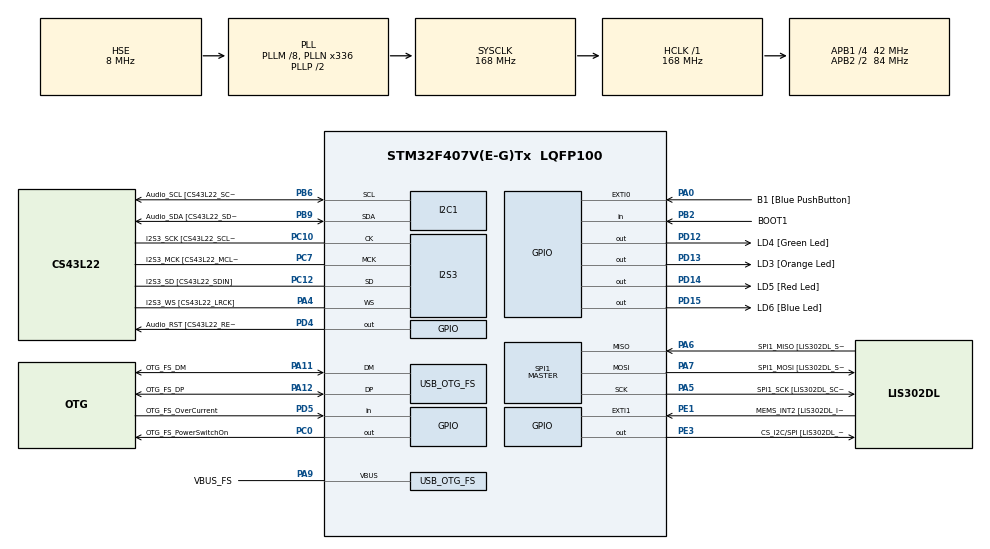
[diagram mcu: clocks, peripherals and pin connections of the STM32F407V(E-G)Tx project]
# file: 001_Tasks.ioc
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I2S3.AudioFreq-Half_Duplex_Master=I2S_AUDIOFREQ_96K
I2S3.ErrorAudioFreq=-2.34 %
I2S3.ErrorAudioFreq-Half_Duplex_Master=0.8 %
I2S3.FullDuplexMode=I2S_FULLDUPLEXMODE_DISABLE
I2S3.Instance=SPI$Index
I2S3.RealAudioFreq=93.75 KHz
I2S3.RealAudioFreq-Half_Duplex_Master=96.774 KHz
I2S3.VirtualMode=I2S_MODE_MASTER
Mcu.Family=STM32F4
Mcu.Name=STM32F407V(E-G)Tx
Mcu.Package=LQFP100
NVIC.OTG_FS_IRQn=true\:0\:0\:false\:false\:true\:true\:true\:true
NVIC.PriorityGroup=NVIC_PRIORITYGROUP_4
NVIC.TIM6_DAC_IRQn=true\:0\:0\:false\:false\:true\:false\:true\:true
NVIC.TimeBase=TIM6_DAC_IRQn
NVIC.TimeBaseIP=TIM6
PA0-WKUP.GPIO_Label=B1 [Blue PushButton]
PA0-WKUP.GPIO_ModeDefaultEXTI=GPIO_MODE_EVT_RISING
PA0-WKUP.GPIO_PuPd=GPIO_NOPULL
PA0-WKUP.Signal=GPXTI0
PA10.GPIO_Label=OTG_FS_ID
PA10.GPIO_Mode=GPIO_MODE_AF_PP
PA10.GPIO_PuPd=GPIO_NOPULL
PA10.GPIO_Speed=GPIO_SPEED_FREQ_LOW
PA10.Signal=USB_OTG_FS_ID
PA11.GPIO_Label=OTG_FS_DM
PA11.GPIO_Mode=GPIO_MODE_AF_PP
PA11.GPIO_PuPd=GPIO_NOPULL
PA11.GPIO_Speed=GPIO_SPEED_FREQ_LOW
PA11.Mode=Host_Only
PA11.Signal=USB_OTG_FS_DM
PA12.GPIO_Label=OTG_FS_DP
PA12.GPIO_Mode=GPIO_MODE_AF_PP
PA12.GPIO_PuPd=GPIO_NOPULL
PA12.GPIO_Speed=GPIO_SPEED_FREQ_LOW
PA12.Mode=Host_Only
PA12.Signal=USB_OTG_FS_DP
PA13.GPIO_Label=SWDIO
PA13.Mode=Serial_Wire
PA13.Signal=SYS_JTMS-SWDIO
PA14.GPIO_Label=SWCLK
PA14.Mode=Serial_Wire
PA14.Signal=SYS_JTCK-SWCLK
PA4.GPIO_Label=I2S3_WS [CS43L22_LRCK]
PA4.GPIO_Mode=GPIO_MODE_AF_PP
PA4.GPIO_PuPd=GPIO_NOPULL
PA4.GPIO_Speed=GPIO_SPEED_FREQ_LOW
PA4.Mode=Half_Duplex_Master
PA4.Signal=I2S3_WS
PA5.GPIO_Label=SPI1_SCK [LIS302DL_SCL/SPC]
PA5.GPIO_Mode=GPIO_MODE_AF_PP
PA5.GPIO_PuPd=GPIO_NOPULL
PA5.GPIO_Speed=GPIO_SPEED_FREQ_LOW
PA5.Mode=Full_Duplex_Master
PA5.Signal=SPI1_SCK
PA6.GPIO_Label=SPI1_MISO [LIS302DL_SDO]
PA6.GPIO_Mode=GPIO_MODE_AF_PP
PA6.GPIO_PuPd=GPIO_NOPULL
PA6.GPIO_Speed=GPIO_SPEED_FREQ_LOW
PA6.Mode=Full_Duplex_Master
PA6.Signal=SPI1_MISO
PA7.GPIO_Label=SPI1_MOSI [LIS302DL_SDA/SDI/SDO]
PA7.GPIO_Mode=GPIO_MODE_AF_PP
PA7.GPIO_PuPd=GPIO_NOPULL
PA7.GPIO_Speed=GPIO_SPEED_FREQ_LOW
PA7.Mode=Full_Duplex_Master
PA7.Signal=SPI1_MOSI
PA9.GPIO_Label=VBUS_FS
PA9.GPIO_Mode=GPIO_MODE_INPUT
PA9.GPIO_PuPd=GPIO_NOPULL
PA9.Mode=Activate_VBUS
PA9.Signal=USB_OTG_FS_VBUS
PB10.GPIO_Label=CLK_IN [MP45DT02_CLK]
PB10.GPIO_Mode=GPIO_MODE_AF_PP
PB10.GPIO_PuPd=GPIO_NOPULL
PB10.GPIO_Speed=GPIO_SPEED_FREQ_LOW
PB10.Signal=I2S2_CK
PB2.GPIO_Label=BOOT1
PB2.GPIO_Mode=GPIO_MODE_INPUT
PB2.GPIO_PuPd=GPIO_NOPULL
PB2.Signal=GPIO_Input
PB3.GPIO_Label=SWO
PB3.Signal=SYS_JTDO-SWO
PB6.GPIO_Label=Audio_SCL [CS43L22_SCL]
PB6.GPIO_Mode=GPIO_MODE_AF_OD
PB6.GPIO_Pu=GPIO_PULLUP
PB6.GPIO_PuPd=GPIO_NOPULL
PB6.GPIO_Speed=GPIO_SPEED_FREQ_LOW
PB6.Mode=I2C
PB6.Signal=I2C1_SCL
PB9.GPIO_Label=Audio_SDA [CS43L22_SDA]
PB9.GPIO_Mode=GPIO_MODE_AF_OD
PB9.GPIO_Pu=GPIO_PULLUP
PB9.GPIO_PuPd=GPIO_NOPULL
PB9.GPIO_Speed=GPIO_SPEED_FREQ_LOW
PB9.Mode=I2C
PB9.Signal=I2C1_SDA
PC0.GPIO_Label=OTG_FS_PowerSwitchOn
PC0.GPIO_PuPd=GPIO_NOPULL
PC0.GPIO_Speed=GPIO_SPEED_FREQ_LOW
PC0.PinState=GPIO_PIN_SET
PC0.Signal=GPIO_Output
PC10.GPIO_Label=I2S3_SCK [CS43L22_SCLK]
PC10.GPIO_Mode=GPIO_MODE_AF_PP
PC10.GPIO_PuPd=GPIO_NOPULL
PC10.GPIO_Speed=GPIO_SPEED_FREQ_LOW
PC10.Mode=Half_Duplex_Master
PC10.Signal=I2S3_CK
PC12.GPIO_Label=I2S3_SD [CS43L22_SDIN]
PC12.GPIO_Mode=GPIO_MODE_AF_PP
PC12.GPIO_PuPd=GPIO_NOPULL
PC12.GPIO_Speed=GPIO_SPEED_FREQ_LOW
PC12.Mode=Half_Duplex_Master
PC12.Signal=I2S3_SD
PC14-OSC32_IN.GPIO_Label=PC14-OSC32_IN
PC14-OSC32_IN.Mode=LSE-External-Oscillator
PC14-OSC32_IN.Signal=RCC_OSC32_IN
PC15-OSC32_OUT.GPIO_Label=PC15-OSC32_OUT
PC15-OSC32_OUT.Mode=LSE-External-Oscillator
PC15-OSC32_OUT.Signal=RCC_OSC32_OUT
PC3.GPIO_Label=PDM_OUT [MP45DT02_DOUT]
PC3.GPIO_Mode=GPIO_MODE_AF_PP
PC3.GPIO_PuPd=GPIO_NOPULL
PC3.GPIO_Speed=GPIO_SPEED_FREQ_LOW
PC3.Signal=I2S2_SD
PC7.GPIO_Label=I2S3_MCK [CS43L22_MCLK]
PC7.GPIO_Mode=GPIO_MODE_AF_PP
PC7.GPIO_PuPd=GPIO_NOPULL
PC7.GPIO_Speed=GPIO_SPEED_FREQ_LOW
PC7.Mode=Master_Clock_Activated
PC7.Signal=I2S3_MCK
PD12.GPIO_Label=LD4 [Green Led]
PD12.GPIO_PuPd=GPIO_NOPULL
PD12.GPIO_Speed=GPIO_SPEED_FREQ_LOW
PD12.Signal=GPIO_Output
PD13.GPIO_Label=LD3 [Orange Led]
PD13.GPIO_PuPd=GPIO_NOPULL
PD13.GPIO_Speed=GPIO_SPEED_FREQ_LOW
PD13.Signal=GPIO_Output
PD14.GPIO_Label=LD5 [Red Led]
PD14.GPIO_PuPd=GPIO_NOPULL
PD14.GPIO_Speed=GPIO_SPEED_FREQ_LOW
PD14.Signal=GPIO_Output
PD15.GPIO_Label=LD6 [Blue Led]
PD15.GPIO_PuPd=GPIO_NOPULL
PD15.GPIO_Speed=GPIO_SPEED_FREQ_LOW
PD15.Signal=GPIO_Output
PD4.GPIO_Label=Audio_RST [CS43L22_RESET]
PD4.GPIO_PuPd=GPIO_NOPULL
PD4.GPIO_Speed=GPIO_SPEED_FREQ_LOW
PD4.Signal=GPIO_Output
PD5.GPIO_Label=OTG_FS_OverCurrent
PD5.GPIO_Mode=GPIO_MODE_INPUT
PD5.GPIO_PuPd=GPIO_NOPULL
PD5.Signal=GPIO_Input
PE1.GPIO_Label=MEMS_INT2 [LIS302DL_INT2]
PE1.GPIO_ModeDefaultEXTI=GPIO_MODE_EVT_RISING
PE1.GPIO_PuPd=GPIO_NOPULL
PE1.Signal=GPXTI1
PE3.GPIO_Label=CS_I2C/SPI [LIS302DL_CS_I2C/SPI]
PE3.GPIO_PuPd=GPIO_NOPULL
PE3.GPIO_Speed=GPIO_SPEED_FREQ_LOW
PE3.Signal=GPIO_Output
PH0-OSC_IN.GPIO_Label=PH0-OSC_IN
PH0-OSC_IN.Mode=HSE-External-Oscillator
PH0-OSC_IN.Signal=RCC_OSC_IN
PH1-OSC_OUT.GPIO_Label=PH1-OSC_OUT
PH1-OSC_OUT.Mode=HSE-External-Oscillator
PH1-OSC_OUT.Signal=RCC_OSC_OUT
ProjectManager.HeapSize=0x200
ProjectManager.StackSize=0x400
ProjectManager.TargetToolchain=STM32CubeIDE
RCC.48MHZClocksFreq_Value=48000000
RCC.AHBFreq_Value=168000000
RCC.APB1CLKDivider=RCC_HCLK_DIV4
RCC.APB1Freq_Value=42000000
RCC.APB1TimFreq_Value=84000000
RCC.APB2CLKDivider=RCC_HCLK_DIV2
RCC.APB2Freq_Value=84000000
RCC.APB2TimFreq_Value=168000000
RCC.CortexFreq_Value=168000000
RCC.HCLKFreq_Value=168000000
RCC.HSE_VALUE=8000000
RCC.HSI_VALUE=16000000
RCC.PLLM=8
RCC.PLLN=336
RCC.PLLQ=7
RCC.SYSCLKFreq_VALUE=168000000
RCC.SYSCLKSource=RCC_SYSCLKSOURCE_PLLCLK
RCC.VCOOutputFreq_Value=336000000
SPI1.BaudRatePrescaler-Full_Duplex_Master=SPI_BAUDRATEPRESCALER_2
SPI1.CalculateBaudRate-Full_Duplex_Master=42.0 MBits/s
SPI1.Direction=SPI_DIRECTION_2LINES
SPI1.Mode=SPI_MODE_MASTER
SPI1.Mode-Full_Duplex_Master=SPI_MODE_MASTER
SPI1.VirtualType=VM_MASTER
USB_HOST.BSP.number=1
USB_HOST.USBH_HandleTypeDef-CDC_FS=hUsbHostFS
USB_HOST.VirtualModeFS=Cdc
USB_HOST0.BSP.STBoard=false
USB_HOST0.BSP.api=Unknown
USB_HOST0.BSP.instance=PC0
USB_HOST0.BSP.ip=GPIO
USB_HOST0.BSP.mode=Output
USB_HOST0.BSP.name=Drive_VBUS_FS
USB_HOST0.BSP.solution=PC0
USB_OTG_FS.VirtualMode=Host_Only
USB_OTG_FS.phy_itface=HCD_PHY_EMBEDDED
VP_SYS_VS_tim6.Mode=TIM6
VP_USB_HOST_VS_USB_HOST_CDC_FS.Mode=CDC_FS
board=STM32F407G-DISC1

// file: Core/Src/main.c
/* USER CODE BEGIN Header */
/**
  ******************************************************************************
  * @file           : main.c
  * @brief          : Main program body
  ******************************************************************************
  * @attention
  *
  * Copyright (c) 2026 STMicroelectronics.
  * All rights reserved.
  *
  * This software is licensed under terms that can be found in the LICENSE file
  * in the root directory of this software component.
  * If no LICENSE file comes with this software, it is provided AS-IS.
  *
  ******************************************************************************
  */
/* USER CODE END Header */
#include "main.h"
#include "usb_host.h"

/* USER CODE BEGIN Includes */

#include "FreeRTOS.h"
#include "task.h"
#include <stdio.h>

/* USER CODE END Includes */

/* USER CODE BEGIN PD */
#define ENABLE_DWT_CYCCNT
/* USER CODE END PD */

I2C_HandleTypeDef hi2c1;

I2S_HandleTypeDef hi2s3;

SPI_HandleTypeDef hspi1;

void SystemClock_Config(void);
static void MX_GPIO_Init(void);
static void MX_I2C1_Init(void);
static void MX_I2S3_Init(void);
static void MX_SPI1_Init(void);
void MX_USB_HOST_Process(void);

/* USER CODE BEGIN PFP */
static void task1_handler(void *parameters);
static void task2_handler(void *parameters);
void DWT_Init(void) {
    // Enable TRC (Trace)
    CoreDebug->DEMCR |= CoreDebug_DEMCR_TRCENA_Msk;
    // Reset and enable DWT cycle counter
    DWT->CYCCNT = 0;
    DWT->CTRL  |= DWT_CTRL_CYCCNTENA_Msk;
}
/* USER CODE END PFP */

int main(void)
{

  /* MCU Configuration--------------------------------------------------------*/

  /* Reset of all peripherals, Initializes the Flash interface and the Systick. */
  HAL_Init();

  /* Configure the system clock */
  SystemClock_Config();

  /* Initialize all configured peripherals */
  MX_GPIO_Init();
  MX_I2C1_Init();
  MX_I2S3_Init();
  MX_SPI1_Init();
  MX_USB_HOST_Init();
  /* USER CODE BEGIN 2 */
  NVIC_SetPriorityGrouping(0);
  DWT_Init();             // <-- here, before SystemView

  SEGGER_SYSVIEW_Conf();
  SEGGER_SYSVIEW_Start();
  TaskHandle_t * const task1_handle = NULL;
  TaskHandle_t * const task2_handle = NULL;

  BaseType_t status_task1 =  xTaskCreate(task1_handler, "Task-1", 200, "Hello World From task-1\n", 2, task1_handle);

  configASSERT(status_task1 == pdPASS); // If its true configASSERT wont go in infinit loop

  BaseType_t status_task2 =  xTaskCreate(task2_handler, "Task-2", 200, "Hello World From task-2\n", 2, task2_handle);
  configASSERT(status_task2 == pdPASS); // If its true configASSERT wont go in infinit loop
  vTaskStartScheduler();
  /* USER CODE END 2 */

  /* Infinite loop */
  while (1)
  {
    MX_USB_HOST_Process();

  }
}

void SystemClock_Config(void)
{
  RCC_OscInitTypeDef RCC_OscInitStruct = {0};
  RCC_ClkInitTypeDef RCC_ClkInitStruct = {0};

  /** Configure the main internal regulator output voltage
  */
  __HAL_RCC_PWR_CLK_ENABLE();
  __HAL_PWR_VOLTAGESCALING_CONFIG(PWR_REGULATOR_VOLTAGE_SCALE1);

  /** Initializes the RCC Oscillators according to the specified parameters
  * in the RCC_OscInitTypeDef structure.
  */
  RCC_OscInitStruct.OscillatorType = RCC_OSCILLATORTYPE_HSE;
  RCC_OscInitStruct.HSEState = RCC_HSE_ON;
  RCC_OscInitStruct.PLL.PLLState = RCC_PLL_ON;
  RCC_OscInitStruct.PLL.PLLSource = RCC_PLLSOURCE_HSE;
  RCC_OscInitStruct.PLL.PLLM = 8;
  RCC_OscInitStruct.PLL.PLLN = 336;
  RCC_OscInitStruct.PLL.PLLP = RCC_PLLP_DIV2;
  RCC_OscInitStruct.PLL.PLLQ = 7;
  if (HAL_RCC_OscConfig(&RCC_OscInitStruct) != HAL_OK)
  {
    Error_Handler();
  }

  /** Initializes the CPU, AHB and APB buses clocks
  */
  RCC_ClkInitStruct.ClockType = RCC_CLOCKTYPE_HCLK|RCC_CLOCKTYPE_SYSCLK
                              |RCC_CLOCKTYPE_PCLK1|RCC_CLOCKTYPE_PCLK2;
  RCC_ClkInitStruct.SYSCLKSource = RCC_SYSCLKSOURCE_PLLCLK;
  RCC_ClkInitStruct.AHBCLKDivider = RCC_SYSCLK_DIV1;
  RCC_ClkInitStruct.APB1CLKDivider = RCC_HCLK_DIV4;
  RCC_ClkInitStruct.APB2CLKDivider = RCC_HCLK_DIV2;

  if (HAL_RCC_ClockConfig(&RCC_ClkInitStruct, FLASH_LATENCY_5) != HAL_OK)
  {
    Error_Handler();
  }
}

static void MX_I2C1_Init(void)
{

  hi2c1.Instance = I2C1;
  hi2c1.Init.ClockSpeed = 100000;
  hi2c1.Init.DutyCycle = I2C_DUTYCYCLE_2;
  hi2c1.Init.OwnAddress1 = 0;
  hi2c1.Init.AddressingMode = I2C_ADDRESSINGMODE_7BIT;
  hi2c1.Init.DualAddressMode = I2C_DUALADDRESS_DISABLE;
  hi2c1.Init.OwnAddress2 = 0;
  hi2c1.Init.GeneralCallMode = I2C_GENERALCALL_DISABLE;
  hi2c1.Init.NoStretchMode = I2C_NOSTRETCH_DISABLE;
  if (HAL_I2C_Init(&hi2c1) != HAL_OK)
  {
    Error_Handler();
  }

}

static void MX_I2S3_Init(void)
{

  hi2s3.Instance = SPI3;
  hi2s3.Init.Mode = I2S_MODE_MASTER_TX;
  hi2s3.Init.Standard = I2S_STANDARD_PHILIPS;
  hi2s3.Init.DataFormat = I2S_DATAFORMAT_16B;
  hi2s3.Init.MCLKOutput = I2S_MCLKOUTPUT_ENABLE;
  hi2s3.Init.AudioFreq = I2S_AUDIOFREQ_96K;
  hi2s3.Init.CPOL = I2S_CPOL_LOW;
  hi2s3.Init.ClockSource = I2S_CLOCK_PLL;
  hi2s3.Init.FullDuplexMode = I2S_FULLDUPLEXMODE_DISABLE;
  if (HAL_I2S_Init(&hi2s3) != HAL_OK)
  {
    Error_Handler();
  }

}

static void MX_SPI1_Init(void)
{

  /* SPI1 parameter configuration*/
  hspi1.Instance = SPI1;
  hspi1.Init.Mode = SPI_MODE_MASTER;
  hspi1.Init.Direction = SPI_DIRECTION_2LINES;
  hspi1.Init.DataSize = SPI_DATASIZE_8BIT;
  hspi1.Init.CLKPolarity = SPI_POLARITY_LOW;
  hspi1.Init.CLKPhase = SPI_PHASE_1EDGE;
  hspi1.Init.NSS = SPI_NSS_SOFT;
  hspi1.Init.BaudRatePrescaler = SPI_BAUDRATEPRESCALER_2;
  hspi1.Init.FirstBit = SPI_FIRSTBIT_MSB;
  hspi1.Init.TIMode = SPI_TIMODE_DISABLE;
  hspi1.Init.CRCCalculation = SPI_CRCCALCULATION_DISABLE;
  hspi1.Init.CRCPolynomial = 10;
  if (HAL_SPI_Init(&hspi1) != HAL_OK)
  {
    Error_Handler();
  }

}

static void MX_GPIO_Init(void)
{
  GPIO_InitTypeDef GPIO_InitStruct = {0};

  /* GPIO Ports Clock Enable */
  __HAL_RCC_GPIOE_CLK_ENABLE();
  __HAL_RCC_GPIOC_CLK_ENABLE();
  __HAL_RCC_GPIOH_CLK_ENABLE();
  __HAL_RCC_GPIOA_CLK_ENABLE();
  __HAL_RCC_GPIOB_CLK_ENABLE();
  __HAL_RCC_GPIOD_CLK_ENABLE();

  /*Configure GPIO pin Output Level */
  HAL_GPIO_WritePin(CS_I2C_SPI_GPIO_Port, CS_I2C_SPI_Pin, GPIO_PIN_RESET);

  /*Configure GPIO pin Output Level */
  HAL_GPIO_WritePin(OTG_FS_PowerSwitchOn_GPIO_Port, OTG_FS_PowerSwitchOn_Pin, GPIO_PIN_SET);

  /*Configure GPIO pin Output Level */
  HAL_GPIO_WritePin(GPIOD, LD4_Pin|LD3_Pin|LD5_Pin|LD6_Pin
                          |Audio_RST_Pin, GPIO_PIN_RESET);

  /*Configure GPIO pin : CS_I2C_SPI_Pin */
  GPIO_InitStruct.Pin = CS_I2C_SPI_Pin;
  GPIO_InitStruct.Mode = GPIO_MODE_OUTPUT_PP;
  GPIO_InitStruct.Pull = GPIO_NOPULL;
  GPIO_InitStruct.Speed = GPIO_SPEED_FREQ_LOW;
  HAL_GPIO_Init(CS_I2C_SPI_GPIO_Port, &GPIO_InitStruct);

  /*Configure GPIO pin : OTG_FS_PowerSwitchOn_Pin */
  GPIO_InitStruct.Pin = OTG_FS_PowerSwitchOn_Pin;
  GPIO_InitStruct.Mode = GPIO_MODE_OUTPUT_PP;
  GPIO_InitStruct.Pull = GPIO_NOPULL;
  GPIO_InitStruct.Speed = GPIO_SPEED_FREQ_LOW;
  HAL_GPIO_Init(OTG_FS_PowerSwitchOn_GPIO_Port, &GPIO_InitStruct);

  /*Configure GPIO pin : PDM_OUT_Pin */
  GPIO_InitStruct.Pin = PDM_OUT_Pin;
  GPIO_InitStruct.Mode = GPIO_MODE_AF_PP;
  GPIO_InitStruct.Pull = GPIO_NOPULL;
  GPIO_InitStruct.Speed = GPIO_SPEED_FREQ_LOW;
  GPIO_InitStruct.Alternate = GPIO_AF5_SPI2;
  HAL_GPIO_Init(PDM_OUT_GPIO_Port, &GPIO_InitStruct);

  /*Configure GPIO pin : B1_Pin */
  GPIO_InitStruct.Pin = B1_Pin;
  GPIO_InitStruct.Mode = GPIO_MODE_EVT_RISING;
  GPIO_InitStruct.Pull = GPIO_NOPULL;
  HAL_GPIO_Init(B1_GPIO_Port, &GPIO_InitStruct);

  /*Configure GPIO pin : BOOT1_Pin */
  GPIO_InitStruct.Pin = BOOT1_Pin;
  GPIO_InitStruct.Mode = GPIO_MODE_INPUT;
  GPIO_InitStruct.Pull = GPIO_NOPULL;
  HAL_GPIO_Init(BOOT1_GPIO_Port, &GPIO_InitStruct);

  /*Configure GPIO pin : CLK_IN_Pin */
  GPIO_InitStruct.Pin = CLK_IN_Pin;
  GPIO_InitStruct.Mode = GPIO_MODE_AF_PP;
  GPIO_InitStruct.Pull = GPIO_NOPULL;
  GPIO_InitStruct.Speed = GPIO_SPEED_FREQ_LOW;
  GPIO_InitStruct.Alternate = GPIO_AF5_SPI2;
  HAL_GPIO_Init(CLK_IN_GPIO_Port, &GPIO_InitStruct);

  /*Configure GPIO pins : LD4_Pin LD3_Pin LD5_Pin LD6_Pin
                           Audio_RST_Pin */
  GPIO_InitStruct.Pin = LD4_Pin|LD3_Pin|LD5_Pin|LD6_Pin
                          |Audio_RST_Pin;
  GPIO_InitStruct.Mode = GPIO_MODE_OUTPUT_PP;
  GPIO_InitStruct.Pull = GPIO_NOPULL;
  GPIO_InitStruct.Speed = GPIO_SPEED_FREQ_LOW;
  HAL_GPIO_Init(GPIOD, &GPIO_InitStruct);

  /*Configure GPIO pin : OTG_FS_OverCurrent_Pin */
  GPIO_InitStruct.Pin = OTG_FS_OverCurrent_Pin;
  GPIO_InitStruct.Mode = GPIO_MODE_INPUT;
  GPIO_InitStruct.Pull = GPIO_NOPULL;
  HAL_GPIO_Init(OTG_FS_OverCurrent_GPIO_Port, &GPIO_InitStruct);

  /*Configure GPIO pin : MEMS_INT2_Pin */
  GPIO_InitStruct.Pin = MEMS_INT2_Pin;
  GPIO_InitStruct.Mode = GPIO_MODE_EVT_RISING;
  GPIO_InitStruct.Pull = GPIO_NOPULL;
  HAL_GPIO_Init(MEMS_INT2_GPIO_Port, &GPIO_InitStruct);

}

/* USER CODE BEGIN 4 */

static void task1_handler(void *parameters){ // Static makes them scope limited to this C file

	while(1){
		printf("%s\n",(char*)parameters);
		taskYIELD(); // Yielding is a way to tell the scheduler that I am done with my execution and you can schedule other task which is in ready state. It will not block the task, it will just give chance to other task to execute. After executing other task, it will come back to this task and execute from the next line of code.
	}
	vTaskDelete(NULL);
}

static void task2_handler(void *parameters){

	while(1){
		printf("%s\n",(char*)parameters);
		taskYIELD(); // Yielding is a way to tell the scheduler that I am done with my execution and you can schedule other task which is in ready state. It will not block the task, it will just give chance to other task to execute. After executing other task, it will come back to this task and execute from the next line of code.
	}
	vTaskDelete(NULL);
}

/* USER CODE END 4 */

void HAL_TIM_PeriodElapsedCallback(TIM_HandleTypeDef *htim)
{
  if (htim->Instance == TIM6)
  {
    HAL_IncTick();
  }
}

void Error_Handler(void)
{
  __disable_irq();
  while (1)
  {
  }
}
